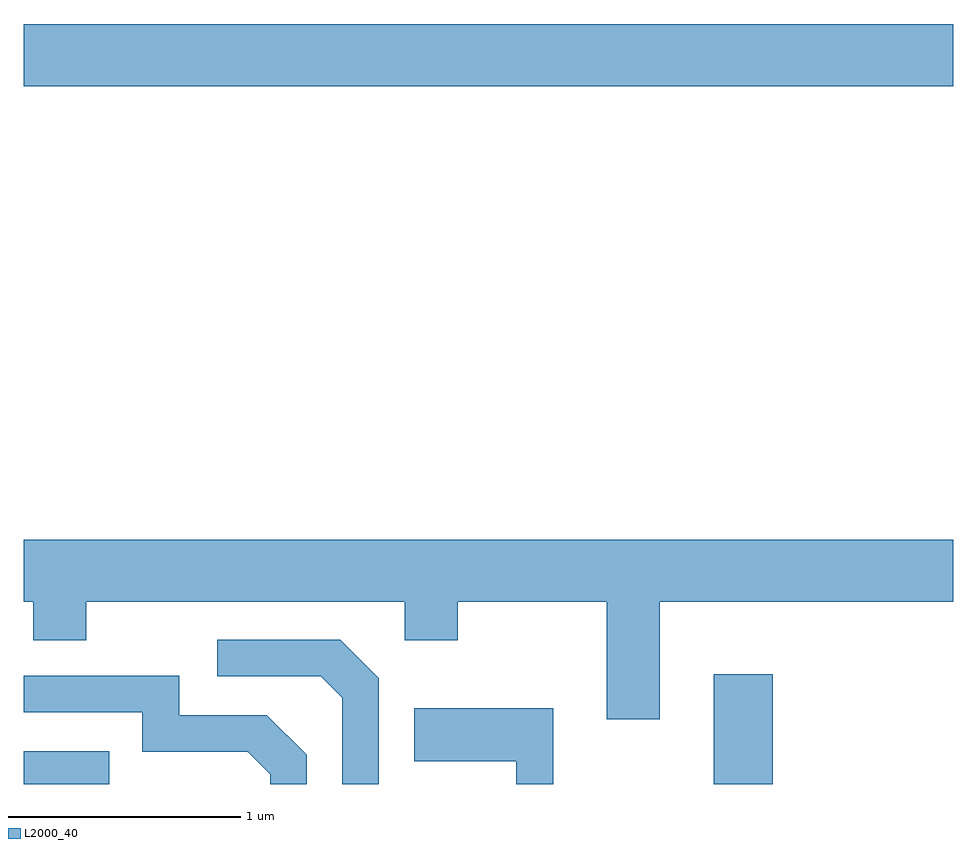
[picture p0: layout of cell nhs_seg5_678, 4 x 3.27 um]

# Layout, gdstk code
import gdstk
lib = gdstk.Library(unit=1e-6, precision=1e-09)
def R(c, l, rs):  # rectangles x0, y0, x1, y1
    for r in rs: c.add(gdstk.rectangle(r[:2], r[2:], *l))
def P(c, l, *ps):  # polygons
    for p in ps: c.add(gdstk.Polygon(p, *l))
L2000_40 = (2000, 40)

nhs_seg5_678 = lib.new_cell('nhs_seg5_678')
R(nhs_seg5_678, L2000_40, [(205.611,1396.072,205.978,1396.214), (208.581,1396.072,208.834,1396.544), (205.611,1399.076,209.611,1399.344)])
P(nhs_seg5_678, L2000_40, [(208.349,1396.856),(209.611,1396.856),(209.611,1397.124),(205.611,1397.124),(205.611,1396.856),(205.651,1396.856),(205.651,1396.691),(205.879,1396.691),(205.879,1396.856),(207.251,1396.856),(207.251,1396.691),(207.479,1396.691),(207.479,1396.856),(208.121,1396.856),(208.121,1396.351),(208.349,1396.351)],
  [(207.139,1396.527),(206.972,1396.694),(206.443,1396.694),(206.443,1396.536),(206.889,1396.536),(206.981,1396.444),(206.981,1396.072),(207.139,1396.072)],
  [(206.829,1396.197),(206.657,1396.369),(206.279,1396.369),(206.279,1396.539),(205.611,1396.539),(205.611,1396.381),(206.121,1396.381),(206.121,1396.211),(206.574,1396.211),(206.671,1396.114),(206.671,1396.072),(206.829,1396.072)],
  [(207.889,1396.399),(207.291,1396.399),(207.291,1396.171),(207.731,1396.171),(207.731,1396.072),(207.889,1396.072)])

lib.write_gds('nhs_seg5_678.gds')
